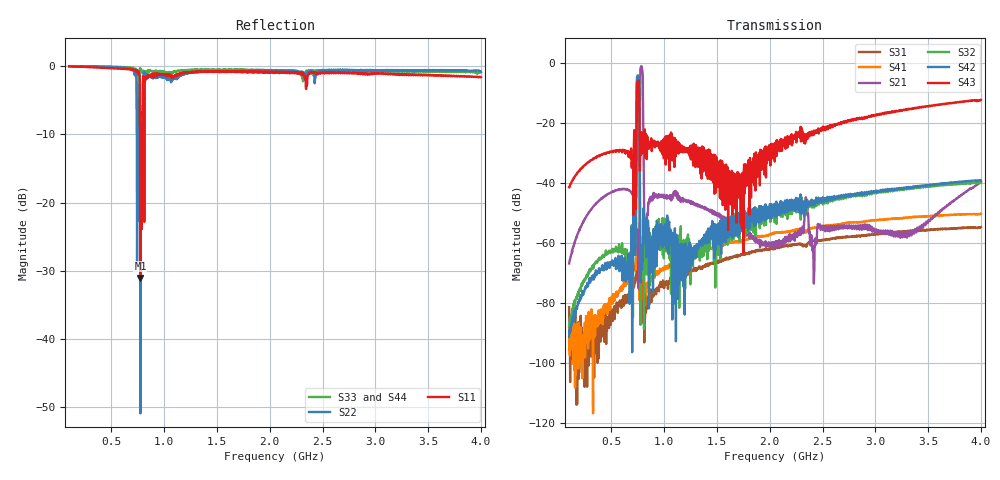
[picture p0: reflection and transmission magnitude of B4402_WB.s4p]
! Matrix data file written by TouchstoneData, EPCOS AG
! FILENAME: "ptable_B4402_02_WB_matched.s4p"
! COMMENT: "S4P matched (B4402_02_WB_matched.s4p)"
! INFO: nport=4, nfreq=1601
! DATE: "Tue Feb 12 13:03:39 2013"
! USER: "Michael Schemies"
! port | pin | signal
!  1  |  3  |  Tx
!  2  |  6  |  Ant
!  3  |  8  |  Rx
!  4  |  1  |  Rx
# MHZ S RI R 50
! freq  reS11 imS11  reS12 imS12  reS13 imS13  reS14 imS14  ...
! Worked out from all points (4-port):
!   1601 points, 100 MHz to 4 GHz, reference 50 ohm
!   strongest paths, dB at 100 MHz, 1.075 GHz, 2.05 GHz, 3.025 GHz, 4 GHz:
!     S43: -41.5, -25.4, -27.7, -17.1, -12.4
!     S42: -91.0, -68.4, -49.9, -42.6, -39.2
!     S32: -87.8, -59.4, -49.2, -43.0, -40.1
!     S21: -66.9, -44.5, -60.1, -56.0, -39.7
!     S41: -95.5, -68.1, -56.7, -52.4, -50.3
!     S31: -81.4, -72.3, -61.5, -56.9, -54.7
!   lowest |S11| = -31.1 dB at 775.2 MHz (marker M1), VSWR 1.06, Z = 51.3 + j2.51 ohm
!   |S11| at or under -10 dB: 771.8 MHz to 792.3 MHz (20.47 MHz wide, 2.62 % of centre); 810.0264 MHz to 813.5903 MHz (3.564 MHz wide, 0.439 % of centre)
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100  0.9083 -0.4106  -0.000417 0.000177  -2.78e-05 8.06e-05  -1.13e-05 1.25e-05
     -0.000417 0.000177  -0.9288 0.3706  -4.01e-05 7.69e-06  -2.69e-05 8.25e-06
     -2.78e-05 8.06e-05  -4.01e-05 7.69e-06  0.9906 -0.1276  0.00126 0.00835
     -1.13e-05 1.25e-05  -2.69e-05 8.25e-06  0.00126 0.00835  0.9909 -0.1275
665.5  -0.5554 -0.7677  0.00667 0.00367  -0.000131 7.43e-06  -0.000264 2.98e-05
       0.00667 0.00367  0.964 -0.0833  -5.91e-05 0.000588  0.000383 0.000122
       -0.000131 7.43e-06  -5.91e-05 0.000588  0.5574 -0.8056  0.021 0.0168
       -0.000264 2.98e-05  0.000383 0.000122  0.021 0.0168  0.5647 -0.8034
748.375  -0.8578 -0.3013  0.000548 0.000931  -0.000277 0.000582  -0.000168 -0.000313
         0.000548 0.000931  -0.0547 0.0484  -0.0435 0.6108  0.0213 -0.5978
         -0.000277 0.000582  -0.0435 0.6108  0.2147 -0.3652  0.2426 -0.3511
         -0.000168 -0.000313  0.0213 -0.5978  0.2426 -0.3511  0.2054 -0.4056
775.1875  0.0137 0.0244  -0.4768 -0.6348  9.76e-05 9.3e-05  -0.000132 5.81e-06
          -0.4768 -0.6348  0.00273 0.000844  -3.82e-05 2e-05  -0.000291 -6.09e-05
          9.76e-05 9.3e-05  -3.82e-05 2e-05  0.9269 -0.2482  0.0104 0.031
          -0.000132 5.81e-06  -0.000291 -6.09e-05  0.0104 0.031  0.9287 -0.2372
789.8125  0.106 0.0814  0.7951 -0.294  -0.000133 -6.57e-05  0.000455 -1.34e-05
          0.7951 -0.294  0.00521 0.174  -0.000255 -0.000111  0.000342 -9.94e-05
          -0.000133 -6.57e-05  -0.000255 -0.000111  0.7874 -0.4675  0.0429 0.0451
          0.000455 -1.34e-05  0.000342 -9.94e-05  0.0429 0.0451  0.7966 -0.4606
831.25  -0.088 -0.8095  0.0011 0.000743  -0.000101 -8.1e-06  -0.000184 -1.07e-05
        0.0011 0.000743  0.8019 0.1516  -0.00113 0.000915  0.000332 0.00112
        -0.000101 -8.1e-06  -0.00113 0.000915  0.6536 -0.61  0.0212 0.0595
        -0.000184 -1.07e-05  0.000332 0.00112  0.0212 0.0595  0.6789 -0.6173
4000  -0.6549 0.5118  -0.00771 -0.00684  0.000319 0.00181  0.000227 0.00304
      -0.00771 -0.00684  -0.8787 -0.2362  -0.00299 0.00945  -0.0024 0.0107
      0.000319 0.00181  -0.00299 0.00945  -0.6766 -0.5981  -0.1393 0.196
      0.000227 0.00304  -0.0024 0.0107  -0.1393 0.196  -0.7428 -0.5148
